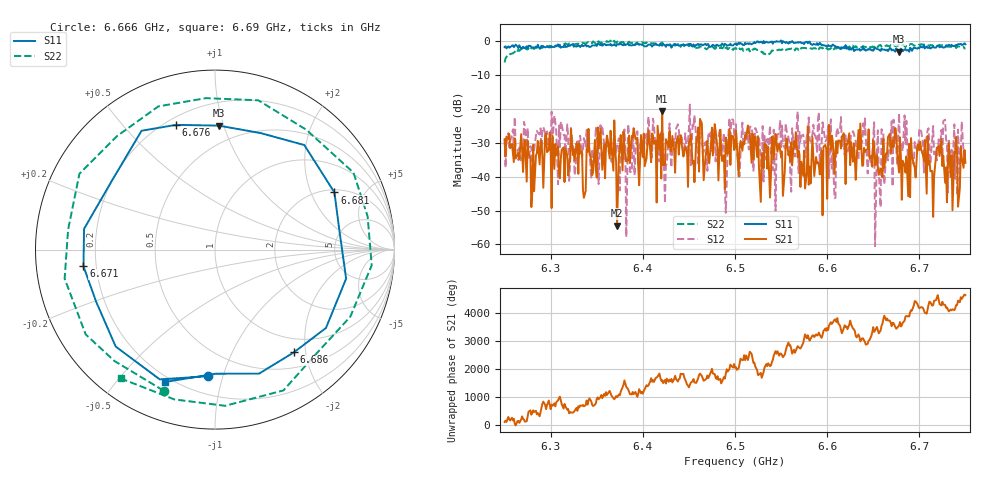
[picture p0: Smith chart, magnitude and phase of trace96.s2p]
# Hz S RI R 50
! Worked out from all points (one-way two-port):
!   401 points, 6.25 GHz to 6.75 GHz, reference 50 ohm
!   highest |S21| = -20.82 dB at 6.421 GHz (marker M1); lowest = -54.4 dB at 6.372 GHz (marker M2)
!   lowest |S11| = -3.2 dB at 6.678 GHz (marker M3), VSWR 5.47, Z = 18.2 + j48.2 ohm
!   |S11| at or under -10 dB: nowhere
!   |S22| runs from -6.4 to 0.1 dB; largest |S21 - S12| = 0.15
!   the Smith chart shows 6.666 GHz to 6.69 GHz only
!   S11 on the Smith chart (normalised r, x): 6.666 GHz: 0.32, -0.89; 6.671 GHz: 0.15, -0.06; 6.676 GHz: 0.24, +0.71; 6.681 GHz: 2.14, +2.98; 6.686 GHz: 0.75, -1.78; 6.69 GHz: 0.17, -0.68
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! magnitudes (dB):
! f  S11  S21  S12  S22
! 6.25 GHz  -1.8  -29.0  -29.0  -6.4
! 6.334 GHz  -1.2  -32.5  -34.4  -0.6
! 6.372 GHz  -0.9  -54.4  -30.8  -0.3
! 6.418 GHz  -1.4  -32.0  -29.8  -1.2
! 6.421 GHz  -1.4  -20.8  -35.6  -0.5
! 6.454 GHz  -1.7  -36.1  -24.7  -1.6
! 6.49 GHz  -1.1  -28.5  -50.7  -2.1
! 6.5 GHz  -0.9  -31.6  -30.0  -2.2
! 6.584 GHz  -1.2  -28.4  -27.7  -2.3
! 6.608 GHz  -1.5  -39.2  -46.4  -2.3
! 6.612 GHz  -1.8  -29.3  -27.3  -2.5
! 6.64 GHz  -2.6  -31.5  -27.6  -1.7
! 6.655 GHz  -2.4  -37.4  -26.4  -1.8
! 6.666 GHz  -3.0  -28.4  -35.2  -1.6
! 6.668 GHz  -2.1  -27.4  -28.5  -1.6
! 6.671 GHz  -2.6  -29.3  -42.9  -1.7
! 6.676 GHz  -2.8  -33.1  -36.6  -1.5
! 6.678 GHz  -3.2  -38.8  -21.4  -1.2
! 6.681 GHz  -2.6  -46.8  -31.3  -1.2
! 6.686 GHz  -2.8  -34.0  -23.5  -1.2
! 6.69 GHz  -2.1  -46.1  -34.6  -1.0
! 6.75 GHz  -1.0  -36.0  -32.1  -2.2
